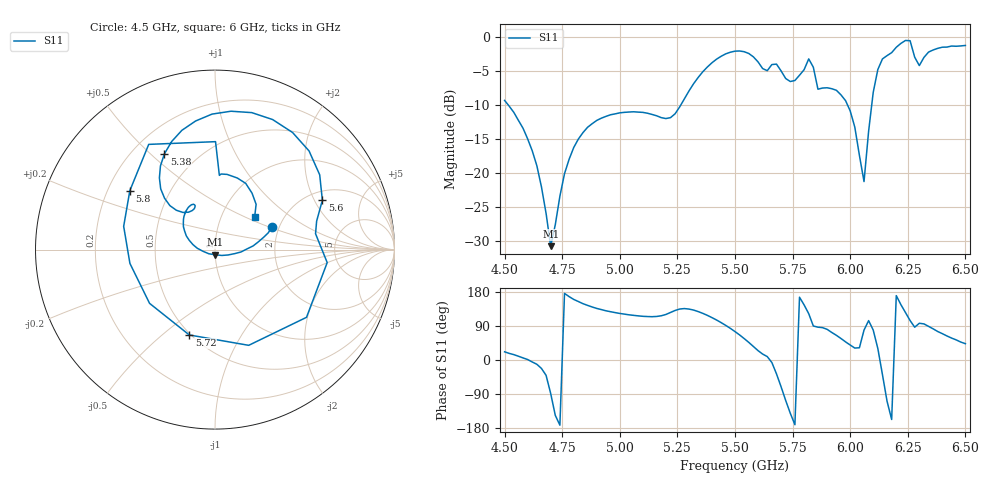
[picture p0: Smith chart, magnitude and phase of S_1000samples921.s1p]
! TOUCHSTONE file generated by CST MICROWAVE STUDIO
! Date and time: Sat Oct 29 19:37:56 2022
! Project name: L.cst
! Parameters = {Di=1.27; Epsilon_r=1.56; InnerDiameter=1.27; Length=2; Lf=10; Lg=60; OuterConductorThickness=0.2921; OuterDiameter=3.6; Wf=3; Wp=41.2; de=1.5; df=6.8; g=0.8; gx=1.40535; gy=0.725939; h=2.34; hf=1.524; px=12.8156; py=13.6812; w=9.7; wx=11.4102; wy=12.9553}
! Header version: 2018
! Port assignment regex: !\s*Touchstone port\s*([0-9]+)\s*=\s*(CST MWS port|CST DS port)\s*([0-9]+|Zmin|Zmax)\s*\(\"(.*)\"\)(\s*mode\s*([0-9]+))?.*
! Touchstone port assignment:
! Touchstone port 1 = CST MWS port 1 ("")
# GHz S DB R 50
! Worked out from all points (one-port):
!   101 points, 4.5 GHz to 6.5 GHz, reference 50 ohm
!   lowest |S11| = -30.8 dB at 4.7 GHz (marker M1), VSWR 1.06, Z = 50 - j2.88 ohm
!   |S11| at or under -10 dB: 4.516 GHz to 5.264 GHz (748.2 MHz wide, 15.3 % of centre); 5.989 GHz to 6.093 GHz (104.7 MHz wide, 1.73 % of centre)
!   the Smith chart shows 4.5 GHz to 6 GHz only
!   S11 on the Smith chart (normalised r, x): 4.5 GHz: 1.84, +0.53; 5.38 GHz: 0.33, +0.55; 5.6 GHz: 2.39, +2.32; 5.72 GHz: 0.49, -0.62; 5.8 GHz: 0.29, +0.29; 6 GHz: 1.43, +0.57
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4.5  -9.31 21.6
4.62  -16.74 -5.2
4.7  -30.80 -88.4
4.76  -20.11 175.7
4.86  -13.27 144.1
5  -11.14 122.8
5.26  -10.26 134.5
5.38  -4.38 117.8
5.5  -2.05 75.0
5.6  -3.63 24.7
5.68  -3.95 -36.5
5.72  -6.08 -106.7
5.76  -6.37 -170.8
5.8  -4.78 145.3
5.84  -4.42 89.7
6  -10.85 39.6
6.06  -21.28 78.9
6.1  -8.11 79.0
6.12  -4.75 30.3
6.14  -3.19 -38.6
6.16  -2.70 -108.9
6.18  -2.26 -157.0
6.2  -1.47 169.9
6.26  -0.51 104.1
6.28  -2.94 86.6
6.3  -4.17 97.0
6.38  -1.63 75.1
6.5  -1.20 43.1
